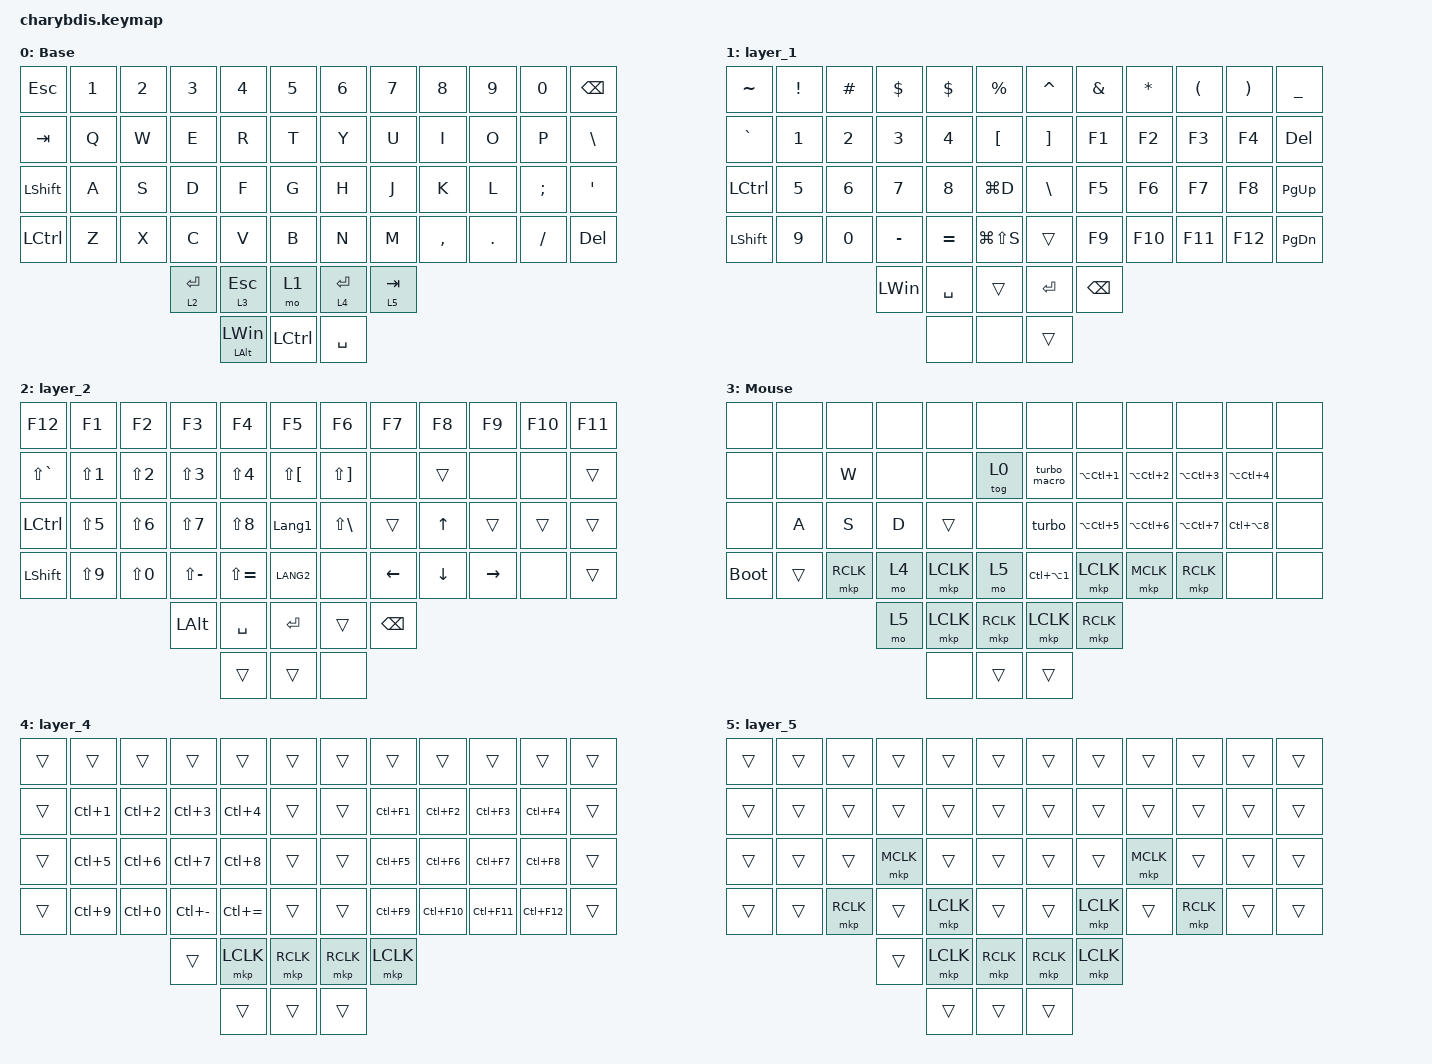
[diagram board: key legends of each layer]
#include <dt-bindings/zmk/mouse.h>
#include <behaviors.dtsi>
#include <dt-bindings/zmk/keys.h>

&lt {
    tapping-term-ms = <200>;
    flavor = "balanced";
    quick-tap-ms = <50>;
};

/ {
    combos { compatible = "zmk,combos"; };
 
    behaviors {
        turbo: turbo {
            compatible = "zmk,behavior-turbo-key";
            label = "turbo";
            #binding-cells = <0>;
            tap-ms = <5>;
            wait-ms = <50>;
            bindings =<&kp M>, <&kp DOT>, <&kp K>;
        };

        turbo2: turbo2 {
            compatible = "zmk,behavior-turbo-key";
            label = "turbo2";
            #binding-cells = <0>;
            tap-ms = <5>;
            wait-ms = <530>;
            bindings = <&kp L>, <&kp L>, <&kp X>;
        };

        turbo3: turbo3 {
            compatible = "zmk,behavior-turbo-key";
            label = "turbo3";
            #binding-cells = <0>;
            tap-ms = <150>;
            wait-ms = <200>;
            bindings = <&kp L>;
        };
        // Новое поведение для зацикленного турбо-макроса
       turbo_macro: turbo_macro {
            #binding-cells = <0>;
            compatible = "zmk,behavior-macro";
            label = "TURBO_MACRO";
            wait-ms = <10>; // Задержка 10 мс между действиями
            tap-ms = <5>;  // Длительность нажатия 5 мс
            bindings = <&kp A &kp B &kp C>; // ваша последовательность
        };
    };

    keymap {
        compatible = "zmk,keymap";

        Base {
            bindings = <
&kp ESC         &kp N1  &kp N2  &kp N3       &kp N4                 &kp N5       &kp N6       &kp N7     &kp N8     &kp N9   &kp N0     &kp BSPC
&kp TAB         &kp Q   &kp W   &kp E        &kp R                  &kp T        &kp Y        &kp U      &kp I      &kp O    &kp P      &kp BACKSLASH
&kp LEFT_SHIFT  &kp A   &kp S   &kp D        &kp F                  &kp G        &kp H        &kp J      &kp K      &kp L  &kp SEMI   &kp APOS
&kp LCTRL       &kp Z   &kp X   &kp C        &kp V                  &kp B        &kp N        &kp M      &kp COMMA  &kp DOT  &kp SLASH  &kp DELETE
                                &lt 2 ENTER  &lt 3 ESC              &mo 1        &lt 4 ENTER  &lt 5 TAB
                                             &mt LEFT_ALT LEFT_WIN  &kp LCTRL    &kp SPACE
            >;

            trackball-bindings = <&tmv_coarse>;
        };

        layer_1 {
            bindings = <
&kp TILDE         &kp EXCLAMATION  &kp HASH      &kp DOLLAR    &kp DOLLAR    &kp PERCENT      &kp CARET  &kp AMPERSAND  &kp ASTERISK  &kp LEFT_PARENTHESIS  &kp RIGHT_PARENTHESIS  &kp UNDERSCORE
&kp GRAVE         &kp NUMBER_1     &kp NUMBER_2  &kp NUMBER_3  &kp NUMBER_4  &kp LBKT         &kp RBKT   &kp F1         &kp F2        &kp F3                &kp F4                 &kp DEL
&kp LEFT_CONTROL  &kp NUMBER_5     &kp NUMBER_6  &kp NUMBER_7  &kp NUMBER_8  &kp LG(D)        &kp BSLH   &kp F5         &kp F6        &kp F7                &kp F8                 &kp PAGE_UP
&kp LSHFT         &kp NUMBER_9     &kp NUMBER_0  &kp MINUS     &kp EQUAL     &kp LG(LS(S))    &trans     &kp F9         &kp F10       &kp F11               &kp F12                &kp PAGE_DOWN
                                                 &kp LEFT_WIN  &kp SPACE     &trans           &kp ENTER  &kp BACKSPACE
                                                               &none         &none            &trans
            >;
        };

        layer_2 {
            bindings = <
&kp F12           &kp F1      &kp F2      &kp F3         &kp F4         &kp F5            &kp F6        &kp F7         &kp F8    &kp F9     &kp F10  &kp F11
&kp LS(GRAVE)     &kp LS(N1)  &kp LS(N2)  &kp LS(N3)     &kp LS(N4)     &kp LS(LBKT)      &kp LS(RBKT)  &none          &trans    &none      &none    &trans
&kp LEFT_CONTROL  &kp LS(N5)  &kp LS(N6)  &kp LS(N7)     &kp LS(N8)     &kp LANGUAGE_1    &kp LS(BSLH)  &trans         &kp UP    &trans     &trans   &trans
&kp LEFT_SHIFT    &kp LS(N9)  &kp LS(N0)  &kp LS(MINUS)  &kp LS(EQUAL)  &kp LANG2         &none         &kp LEFT       &kp DOWN  &kp RIGHT  &none    &trans
                                          &kp LEFT_ALT   &kp SPACE      &kp ENTER         &trans        &kp BACKSPACE
                                                         &trans         &trans            &none
            >;
        };

        Mouse {
            bindings = <
&none        &none   &none      &none  &none      &none        &none                 &none                 &none                 &none                 &none                 &none
&none        &none   &kp W      &none  &none      &tog 0       &turbo_macro   &kp LA(LC(NUMBER_1))  &kp LA(LC(NUMBER_2))  &kp LA(LC(NUMBER_3))  &kp LA(LC(NUMBER_4))  &none
&none        &kp A   &kp S      &kp D  &trans     &none        &turbo               &kp LA(LC(N5))        &kp LA(LC(NUMBER_6))  &kp LA(LC(N7))        &kp LC(LA(N8))        &none
&bootloader  &trans  &mkp RCLK  &mo 4  &mkp LCLK  &mo 5        &kp LC(LA(NUMBER_1))  &mkp LCLK             &mkp MCLK             &mkp RCLK             &none                 &none
                                &mo 5  &mkp LCLK  &mkp RCLK    &mkp LCLK             &mkp RCLK
                                       &none      &trans       &trans
            >;
        };

        layer_4 {
            bindings = <
&trans  &trans            &trans            &trans            &trans            &trans       &trans     &trans      &trans       &trans       &trans       &trans
&trans  &kp LC(NUMBER_1)  &kp LC(NUMBER_2)  &kp LC(NUMBER_3)  &kp LC(NUMBER_4)  &trans       &trans     &kp LC(F1)  &kp LC(F2)   &kp LC(F3)   &kp LC(F4)   &trans
&trans  &kp LC(N5)        &kp LC(NUMBER_6)  &kp LC(NUMBER_7)  &kp LC(NUMBER_8)  &trans       &trans     &kp LC(F5)  &kp LC(F6)   &kp LC(F7)   &kp LC(F8)   &trans
&trans  &kp LC(N9)        &kp LC(N0)        &kp LC(MINUS)     &kp LC(EQUAL)     &trans       &trans     &kp LC(F9)  &kp LC(F10)  &kp LC(F11)  &kp LC(F12)  &trans
                                            &trans            &mkp LCLK         &mkp RCLK    &mkp RCLK  &mkp LCLK
                                                              &trans            &trans       &trans
            >;

            //trackball-bindings = <&tsl>;//滚轮层
        };

        layer_5 {
            bindings = <
&trans  &trans  &trans     &trans     &trans     &trans       &trans     &trans     &trans     &trans     &trans  &trans
&trans  &trans  &trans     &trans     &trans     &trans       &trans     &trans     &trans     &trans     &trans  &trans
&trans  &trans  &trans     &mkp MCLK  &trans     &trans       &trans     &trans     &mkp MCLK  &trans     &trans  &trans
&trans  &trans  &mkp RCLK  &trans     &mkp LCLK  &trans       &trans     &mkp LCLK  &trans     &mkp RCLK  &trans  &trans
                           &trans     &mkp LCLK  &mkp RCLK    &mkp RCLK  &mkp LCLK
                                      &trans     &trans       &trans
            >;

            // trackball-bindings = <&tmv_fine>;//精准指针层
        };
    };
};
